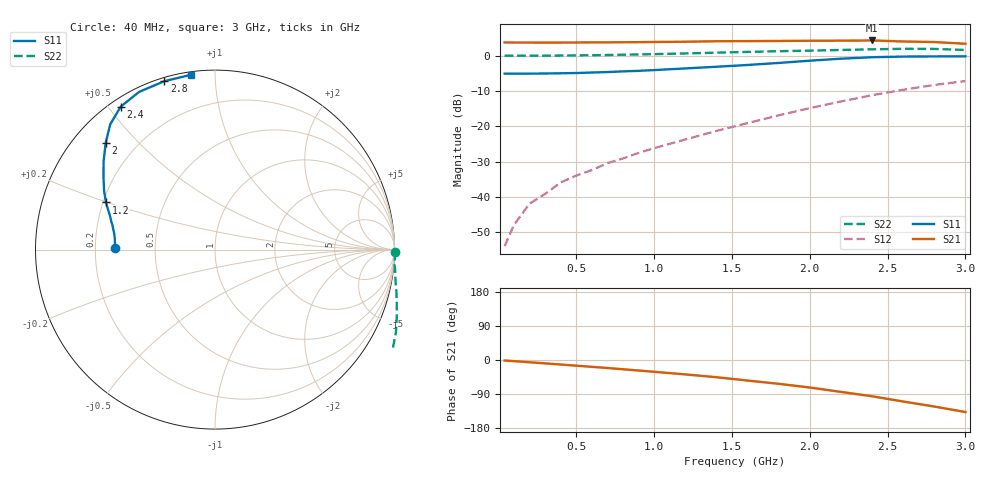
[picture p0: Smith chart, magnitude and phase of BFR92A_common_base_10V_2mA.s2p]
! Filename:  BFR92ACF.S2P  Version:  2.0
! Philips part #: BFR92A  Date: Jul 1990
! Bias condition: Vce=10V, Ic=2mA
! COMMON BASE
#  MHz  S  MA  R  50
! Freq  S11  S21  S12  S22
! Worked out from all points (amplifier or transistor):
!   21 points, 40 MHz to 3 GHz, reference 50 ohm
!   highest |S21| = 4.3 dB at 2.4 GHz (marker M1)
!   |S21| within 3 dB of that: start of sweep to end of sweep
!   unconditionally stable (mu >= 1): nowhere
!   at 300 MHz: K = -0.22, MSG = 21.5 dB, |S12| = -39.2 dB
!   at 1 GHz: K = -0.79, MSG = 15.1 dB, |S12| = -26.2 dB
!   at 3 GHz: K = -0.47, MSG = 5.3 dB, |S12| = -7.2 dB
!   S11 on the Smith chart (normalised r, x): 40 MHz: 0.28, +0.01; 1.2 GHz: 0.21, +0.20; 2 GHz: 0.09, +0.41; 2.4 GHz: 0.03, +0.54; 2.8 GHz: 0.02, +0.74; 3 GHz: 0.02, +0.87
40  0.559 179.0  1.546 -1.4  0.002 74.5  1.002 -0.7
100  0.558 177.9  1.543 -3.0  0.004 87.0  1.004 -1.4
200  0.559 176.0  1.542 -6.0  0.008 93.8  1.003 -3.1
300  0.561 174.1  1.539 -8.9  0.011 99.0  1.003 -4.7
400  0.565 172.3  1.541 -11.9  0.016 103.0  1.009 -6.2
500  0.57 170.5  1.543 -15.0  0.02 106.1  1.014 -7.8
600  0.579 168.5  1.551 -18.0  0.024 109.7  1.019 -9.4
700  0.588 166.5  1.553 -21.1  0.03 112.9  1.026 -11.0
800  0.601 164.5  1.557 -24.4  0.035 115.4  1.036 -12.7
900  0.612 162.5  1.56 -27.7  0.042 118.2  1.045 -14.6
1000  0.627 160.6  1.571 -31.1  0.049 120.5  1.055 -16.3
1200  0.662 156.6  1.582 -38.0  0.065 124.5  1.08 -20.3
1400  0.699 152.1  1.609 -45.4  0.086 126.6  1.108 -24.5
1600  0.741 147.0  1.614 -54.2  0.111 128.3  1.135 -29.3
1800  0.792 141.6  1.623 -62.8  0.143 127.9  1.162 -34.8
2000  0.852 135.6  1.633 -72.6  0.181 126.4  1.183 -41.3
2200  0.91 129.9  1.637 -84.1  0.225 123.7  1.209 -48.9
2400  0.954 123.4  1.65 -95.7  0.276 119.8  1.236 -57.3
2600  0.975 115.7  1.596 -109.5  0.33 115.2  1.256 -65.7
2800  0.98 106.7  1.567 -122.8  0.386 109.4  1.251 -73.9
3000  0.983 97.8  1.481 -137.3  0.438 103.8  1.21 -82.4
